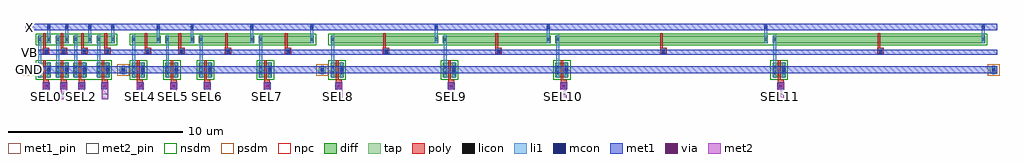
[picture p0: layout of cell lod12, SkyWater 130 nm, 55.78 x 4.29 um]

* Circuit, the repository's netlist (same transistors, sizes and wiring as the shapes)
* NGSPICE file created from lod12.ext - technology: sky130A

.subckt lod12 SEL0 SEL1 SEL2 SEL3 SEL4 SEL5 SEL6 SEL7 SEL8 SEL9 SEL10 SEL11 X VB GND
X0 X VB a_342_n392# GND sky130_fd_pr__nfet_01v8 ad=0.126 pd=1.44 as=0.126 ps=1.44 w=0.42 l=0.15
X1 X VB a_8538_n392# GND sky130_fd_pr__nfet_01v8 ad=2.52 pd=12.84 as=2.52 ps=12.84 w=0.42 l=0.15
X2 X VB a_546_n392# GND sky130_fd_pr__nfet_01v8 ad=0.189 pd=1.74 as=0.189 ps=1.74 w=0.42 l=0.15
X3 X VB a_1212_n392# GND sky130_fd_pr__nfet_01v8 ad=0.315 pd=2.34 as=0.315 ps=2.34 w=0.42 l=0.15
X4 X VB a_1980_n392# GND sky130_fd_pr__nfet_01v8 ad=0.63 pd=3.84 as=0.63 ps=3.84 w=0.42 l=0.15
X5 GND SEL3 a_810_n392# GND sky130_fd_pr__nfet_01v8 ad=0.252 pd=2.28 as=0.252 ps=2.28 w=0.84 l=0.15
X6 GND SEL11 a_8538_n392# GND sky130_fd_pr__nfet_01v8 ad=0.252 pd=2.28 as=0.252 ps=2.28 w=0.84 l=0.15
X7 X VB a_2664_n392# GND sky130_fd_pr__nfet_01v8 ad=0.63 pd=3.84 as=0.63 ps=3.84 w=0.42 l=0.15
X8 X VB a_138_n392# GND sky130_fd_pr__nfet_01v8 ad=0.126 pd=1.44 as=0.126 ps=1.44 w=0.42 l=0.15
X9 GND SEL0 a_138_n392# GND sky130_fd_pr__nfet_01v8 ad=0.252 pd=2.28 as=0.252 ps=2.28 w=0.84 l=0.15
X10 GND SEL2 a_546_n392# GND sky130_fd_pr__nfet_01v8 ad=0.252 pd=2.28 as=0.252 ps=2.28 w=0.84 l=0.15
X11 GND SEL5 a_1596_n392# GND sky130_fd_pr__nfet_01v8 ad=0.252 pd=2.28 as=0.252 ps=2.28 w=0.84 l=0.15
X12 GND SEL7 a_2664_n392# GND sky130_fd_pr__nfet_01v8 ad=0.252 pd=2.28 as=0.252 ps=2.28 w=0.84 l=0.15
X13 X VB a_3486_n392# GND sky130_fd_pr__nfet_01v8 ad=1.26 pd=6.84 as=1.26 ps=6.84 w=0.42 l=0.15
X14 X VB a_810_n392# GND sky130_fd_pr__nfet_01v8 ad=0.189 pd=1.74 as=0.189 ps=1.74 w=0.42 l=0.15
X15 GND SEL6 a_1980_n392# GND sky130_fd_pr__nfet_01v8 ad=0.252 pd=2.28 as=0.252 ps=2.28 w=0.84 l=0.15
X16 X VB a_1596_n392# GND sky130_fd_pr__nfet_01v8 ad=0.315 pd=2.34 as=0.315 ps=2.34 w=0.42 l=0.15
X17 X VB a_4770_n392# GND sky130_fd_pr__nfet_01v8 ad=1.26 pd=6.84 as=1.26 ps=6.84 w=0.42 l=0.15
X18 GND SEL8 a_3486_n392# GND sky130_fd_pr__nfet_01v8 ad=0.252 pd=2.28 as=0.252 ps=2.28 w=0.84 l=0.15
X19 GND SEL9 a_4770_n392# GND sky130_fd_pr__nfet_01v8 ad=0.252 pd=2.28 as=0.252 ps=2.28 w=0.84 l=0.15
X20 GND SEL4 a_1212_n392# GND sky130_fd_pr__nfet_01v8 ad=0.252 pd=2.28 as=0.252 ps=2.28 w=0.84 l=0.15
X21 X VB a_6054_n392# GND sky130_fd_pr__nfet_01v8 ad=2.52 pd=12.84 as=2.52 ps=12.84 w=0.42 l=0.15
X22 GND SEL1 a_342_n392# GND sky130_fd_pr__nfet_01v8 ad=0.252 pd=2.28 as=0.252 ps=2.28 w=0.84 l=0.15
X23 GND SEL10 a_6054_n392# GND sky130_fd_pr__nfet_01v8 ad=0.252 pd=2.28 as=0.252 ps=2.28 w=0.84 l=0.15
.ends

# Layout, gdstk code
import gdstk
lib = gdstk.Library(unit=1e-6, precision=1e-09)
def R(c, l, rs):  # rectangles x0, y0, x1, y1
    for r in rs: c.add(gdstk.rectangle(r[:2], r[2:], *l))
def A(c, l, x, y, w, h, nx, ny, dx, dy):  # array of equal rectangles
    R(c, l, [(x+i*dx, y+j*dy, x+i*dx+w, y+j*dy+h) for i in range(nx) for j in range(ny)])
diff = (65, 20)
tap = (65, 44)
poly = (66, 20)
licon = (66, 44)
li1 = (67, 20)
mcon = (67, 44)
met1_pin = (68, 16)
met1 = (68, 20)
via = (68, 44)
met2_pin = (69, 16)
met2 = (69, 20)
nsdm = (93, 44)
psdm = (94, 20)
npc = (95, 20)

lod12 = lib.new_cell('lod12')
A(lod12, diff, 0.69, -1.96, 0.75, 0.84, 3, 1, 1.02, 0)
A(lod12, diff, 6.06, -1.96, 0.75, 0.84, 3, 1, 1.92, 0)
A(lod12, diff, 17.43, -1.96, 0.75, 0.84, 3, 1, 6.42, 0)
R(lod12, diff, [(4.05,-1.96,4.8,-1.12), (13.32,-1.96,14.07,-1.12), (42.69,-1.96,43.44,-1.12), (0.69,0,1.44,0.42), (1.71,0,2.46,0.42), (2.73,0,3.78,0.42), (4.05,0,5.1,0.42), (6.06,0,7.71,0.42), (7.98,0,9.63,0.42), (9.9,0,13.05,0.42), (13.32,0,16.47,0.42), (17.43,0,23.58,0.42), (23.85,0,30,0.42), (30.27,0,42.42,0.42), (42.69,0,54.84,0.42)])
R(lod12, tap, [(0,-1.75,0.42,-1.33), (5.37,-1.75,5.79,-1.33), (16.74,-1.75,17.16,-1.33), (55.11,-1.75,55.53,-1.33)])
A(lod12, poly, 0.99, -2.62, 0.34, 0.53, 3, 1, 1.02, 0)
A(lod12, poly, 6.36, -2.62, 0.34, 0.53, 3, 1, 1.92, 0)
A(lod12, poly, 17.73, -2.62, 0.34, 0.53, 3, 1, 6.42, 0)
A(lod12, poly, 0.99, -2.09, 0.15, 1.1, 3, 1, 1.02, 0)
A(lod12, poly, 6.36, -2.09, 0.15, 1.1, 3, 1, 1.92, 0)
A(lod12, poly, 17.73, -2.09, 0.15, 1.1, 3, 1, 6.42, 0)
R(lod12, poly, [(4.35,-2.62,4.69,-2.09), (13.62,-2.62,13.96,-2.09), (42.99,-2.62,43.33,-2.09), (4.35,-2.09,4.5,-0.99), (13.62,-2.09,13.77,-0.99), (42.99,-2.09,43.14,-0.99), (0.99,-0.62,1.33,-0.29), (2.01,-0.62,2.35,-0.29), (3.18,-0.62,3.52,-0.29), (4.5,-0.62,4.84,-0.29), (6.81,-0.62,7.15,-0.29), (8.73,-0.62,9.07,-0.29), (11.4,-0.62,11.74,-0.29), (14.82,-0.62,15.16,-0.29), (20.43,-0.62,20.77,-0.29), (26.85,-0.62,27.19,-0.29), (36.27,-0.62,36.61,-0.29), (48.69,-0.62,49.03,-0.29), (0.99,-0.29,1.14,0.55), (2.01,-0.29,2.16,0.55), (3.18,-0.29,3.33,0.55), (4.5,-0.29,4.65,0.55), (6.81,-0.29,6.96,0.55), (8.73,-0.29,8.88,0.55), (11.4,-0.29,11.55,0.55), (14.82,-0.29,14.97,0.55), (20.43,-0.29,20.58,0.55), (26.85,-0.29,27,0.55), (36.27,-0.29,36.42,0.55), (48.69,-0.29,48.84,0.55)])
A(lod12, licon, 1.08, -2.54, 0.17, 0.17, 3, 1, 1.02, 0)
A(lod12, licon, 6.45, -2.54, 0.17, 0.17, 3, 1, 1.92, 0)
A(lod12, licon, 17.82, -2.54, 0.17, 0.17, 3, 1, 6.42, 0)
R(lod12, licon, [(4.44,-2.54,4.61,-2.37), (13.71,-2.54,13.88,-2.37), (43.08,-2.54,43.25,-2.37), (0.73,-1.795,0.9,-1.625), (1.23,-1.795,1.4,-1.625), (1.75,-1.795,1.92,-1.625), (2.25,-1.795,2.42,-1.625), (2.77,-1.795,2.94,-1.625), (3.27,-1.795,3.44,-1.625), (4.09,-1.795,4.26,-1.625), (4.59,-1.795,4.76,-1.625), (6.1,-1.795,6.27,-1.625), (6.6,-1.795,6.77,-1.625), (8.02,-1.795,8.19,-1.625), (8.52,-1.795,8.69,-1.625), (9.94,-1.795,10.11,-1.625), (10.44,-1.795,10.61,-1.625), (13.36,-1.795,13.53,-1.625), (13.86,-1.795,14.03,-1.625), (17.47,-1.795,17.64,-1.625), (17.97,-1.795,18.14,-1.625), (23.89,-1.795,24.06,-1.625), (24.39,-1.795,24.56,-1.625), (30.31,-1.795,30.48,-1.625), (30.81,-1.795,30.98,-1.625), (42.73,-1.795,42.9,-1.625), (43.23,-1.795,43.4,-1.625), (0.125,-1.625,0.295,-1.455), (5.495,-1.625,5.665,-1.455), (16.865,-1.625,17.035,-1.455), (55.235,-1.625,55.405,-1.455), (0.73,-1.455,0.9,-1.285), (1.23,-1.455,1.4,-1.285), (1.75,-1.455,1.92,-1.285), (2.25,-1.455,2.42,-1.285), (2.77,-1.455,2.94,-1.285), (3.27,-1.455,3.44,-1.285), (4.09,-1.455,4.26,-1.285), (4.59,-1.455,4.76,-1.285), (6.1,-1.455,6.27,-1.285), (6.6,-1.455,6.77,-1.285), (8.02,-1.455,8.19,-1.285), (8.52,-1.455,8.69,-1.285), (9.94,-1.455,10.11,-1.285), (10.44,-1.455,10.61,-1.285), (13.36,-1.455,13.53,-1.285), (13.86,-1.455,14.03,-1.285), (17.47,-1.455,17.64,-1.285), (17.97,-1.455,18.14,-1.285), (23.89,-1.455,24.06,-1.285), (24.39,-1.455,24.56,-1.285), (30.31,-1.455,30.48,-1.285), (30.81,-1.455,30.98,-1.285), (42.73,-1.455,42.9,-1.285), (43.23,-1.455,43.4,-1.285), (1.08,-0.54,1.25,-0.37), (2.1,-0.54,2.27,-0.37), (3.27,-0.54,3.44,-0.37), (4.59,-0.54,4.76,-0.37), (6.9,-0.54,7.07,-0.37), (8.82,-0.54,8.99,-0.37), (11.49,-0.54,11.66,-0.37), (14.91,-0.54,15.08,-0.37), (20.52,-0.54,20.69,-0.37), (26.94,-0.54,27.11,-0.37), (36.36,-0.54,36.53,-0.37), (48.78,-0.54,48.95,-0.37), (0.73,0.125,0.9,0.295), (1.23,0.125,1.4,0.295), (1.75,0.125,1.92,0.295), (2.25,0.125,2.42,0.295), (2.77,0.125,2.94,0.295), (3.57,0.125,3.74,0.295), (4.09,0.125,4.26,0.295), (4.89,0.125,5.06,0.295), (6.1,0.125,6.27,0.295), (7.5,0.125,7.67,0.295), (8.02,0.125,8.19,0.295), (9.42,0.125,9.59,0.295), (9.94,0.125,10.11,0.295), (12.84,0.125,13.01,0.295), (13.36,0.125,13.53,0.295), (16.26,0.125,16.43,0.295), (17.47,0.125,17.64,0.295), (23.37,0.125,23.54,0.295), (23.89,0.125,24.06,0.295), (29.79,0.125,29.96,0.295), (30.31,0.125,30.48,0.295), (42.21,0.125,42.38,0.295), (42.73,0.125,42.9,0.295), (54.63,0.125,54.8,0.295)])
A(lod12, li1, 1.08, -2.62, 0.17, 0.33, 3, 1, 1.02, 0)
A(lod12, li1, 6.45, -2.62, 0.17, 0.33, 3, 1, 1.92, 0)
A(lod12, li1, 17.82, -2.62, 0.17, 0.33, 3, 1, 6.42, 0)
A(lod12, li1, 0.73, -1.98, 0.17, 2.42, 3, 1, 1.02, 0)
A(lod12, li1, 1.23, -1.98, 0.17, 0.88, 3, 1, 1.02, 0)
A(lod12, li1, 6.1, -1.98, 0.17, 2.42, 3, 1, 1.92, 0)
A(lod12, li1, 6.6, -1.98, 0.17, 0.88, 3, 1, 1.92, 0)
A(lod12, li1, 17.47, -1.98, 0.17, 2.42, 3, 1, 6.42, 0)
A(lod12, li1, 17.97, -1.98, 0.17, 0.88, 3, 1, 6.42, 0)
A(lod12, li1, 2.25, -0.02, 0.17, 1.07, 3, 1, 1.32, 0)
A(lod12, li1, 9.42, -0.02, 0.17, 1.07, 3, 1, 3.42, 0)
A(lod12, li1, 29.79, -0.02, 0.17, 1.07, 3, 1, 12.42, 0)
R(lod12, li1, [(4.44,-2.62,4.61,-2.29), (13.71,-2.62,13.88,-2.29), (43.08,-2.62,43.25,-2.29), (4.09,-1.98,4.26,0.44), (4.59,-1.98,4.76,-1.1), (13.36,-1.98,13.53,0.44), (13.86,-1.98,14.03,-1.1), (42.73,-1.98,42.9,0.44), (43.23,-1.98,43.4,-1.1), (0.125,-1.77,0.295,-1.31), (5.495,-1.77,5.665,-1.31), (16.865,-1.77,17.035,-1.31), (55.235,-1.77,55.405,-1.31), (1.08,-0.62,1.25,-0.29), (2.1,-0.62,2.27,-0.29), (3.27,-0.62,3.44,-0.29), (4.59,-0.62,4.76,-0.29), (6.9,-0.62,7.07,-0.29), (8.82,-0.62,8.99,-0.29), (11.49,-0.62,11.66,-0.29), (14.91,-0.62,15.08,-0.29), (20.52,-0.62,20.69,-0.29), (26.94,-0.62,27.11,-0.29), (36.36,-0.62,36.53,-0.29), (48.78,-0.62,48.95,-0.29), (1.23,-0.02,1.4,1.05), (7.5,-0.02,7.67,1.05), (23.37,-0.02,23.54,1.05)])
A(lod12, mcon, 1.08, -2.54, 0.17, 0.17, 3, 1, 1.02, 0)
A(lod12, mcon, 6.45, -2.54, 0.17, 0.17, 3, 1, 1.92, 0)
A(lod12, mcon, 17.82, -2.54, 0.17, 0.17, 3, 1, 6.42, 0)
A(lod12, mcon, 1.23, -1.625, 0.17, 0.17, 3, 1, 1.02, 0)
A(lod12, mcon, 6.6, -1.625, 0.17, 0.17, 3, 1, 1.92, 0)
A(lod12, mcon, 17.97, -1.625, 0.17, 0.17, 3, 1, 6.42, 0)
A(lod12, mcon, 2.25, 0.82, 0.17, 0.17, 3, 1, 1.32, 0)
A(lod12, mcon, 9.42, 0.82, 0.17, 0.17, 3, 1, 3.42, 0)
A(lod12, mcon, 29.79, 0.82, 0.17, 0.17, 3, 1, 12.42, 0)
R(lod12, mcon, [(4.44,-2.54,4.61,-2.37), (13.71,-2.54,13.88,-2.37), (43.08,-2.54,43.25,-2.37), (0.125,-1.625,0.295,-1.455), (4.59,-1.625,4.76,-1.455), (5.495,-1.625,5.665,-1.455), (13.86,-1.625,14.03,-1.455), (16.865,-1.625,17.035,-1.455), (43.23,-1.625,43.4,-1.455), (55.235,-1.625,55.405,-1.455), (1.08,-0.6,1.25,-0.43), (2.1,-0.6,2.27,-0.43), (3.27,-0.6,3.44,-0.43), (4.59,-0.6,4.76,-0.43), (6.9,-0.6,7.07,-0.43), (8.82,-0.6,8.99,-0.43), (11.49,-0.6,11.66,-0.43), (14.91,-0.6,15.08,-0.43), (20.52,-0.6,20.69,-0.43), (26.94,-0.6,27.11,-0.43), (36.36,-0.6,36.53,-0.43), (48.78,-0.6,48.95,-0.43), (1.23,0.82,1.4,0.99), (7.5,0.82,7.67,0.99), (23.37,0.82,23.54,0.99)])
R(lod12, met1_pin, [(0,-1.74,0.4,-1.34), (0,-0.66,0.4,-0.37), (0,0.72,0.4,1.09)])
A(lod12, met1, 0.965, -2.655, 0.4, 0.4, 3, 1, 1.02, 0)
A(lod12, met1, 6.335, -2.655, 0.4, 0.4, 3, 1, 1.92, 0)
A(lod12, met1, 17.705, -2.655, 0.4, 0.4, 3, 1, 6.42, 0)
R(lod12, met1, [(4.325,-2.655,4.725,-2.255), (13.595,-2.655,13.995,-2.255), (42.965,-2.655,43.365,-2.255), (0,-1.74,55.53,-1.34), (0,-0.66,55.53,-0.37), (0,0.72,55.53,1.09)])
A(lod12, via, 1.09, -2.53, 0.15, 0.15, 3, 1, 1.02, 0)
A(lod12, via, 6.46, -2.53, 0.15, 0.15, 3, 1, 1.92, 0)
A(lod12, via, 17.83, -2.53, 0.15, 0.15, 3, 1, 6.42, 0)
R(lod12, via, [(4.45,-2.53,4.6,-2.38), (13.72,-2.53,13.87,-2.38), (43.09,-2.53,43.24,-2.38)])
A(lod12, met2_pin, 0.985, -3.2, 0.36, 0.3, 3, 1, 1.02, 0)
A(lod12, met2_pin, 6.355, -3.2, 0.36, 0.3, 3, 1, 1.92, 0)
A(lod12, met2_pin, 17.725, -3.2, 0.36, 0.3, 3, 1, 6.42, 0)
R(lod12, met2_pin, [(4.345,-3.2,4.705,-2.9), (13.615,-3.2,13.975,-2.9), (42.985,-3.2,43.345,-2.9)])
A(lod12, met2, 0.985, -3.2, 0.36, 0.925, 3, 1, 1.02, 0)
A(lod12, met2, 6.355, -3.2, 0.36, 0.925, 3, 1, 1.92, 0)
A(lod12, met2, 17.725, -3.2, 0.36, 0.925, 3, 1, 6.42, 0)
R(lod12, met2, [(4.345,-3.2,4.705,-2.275), (13.615,-3.2,13.975,-2.275), (42.985,-3.2,43.345,-2.275)])
A(lod12, nsdm, 5.935, -2.085, 1, 1.09, 3, 1, 1.92, 0)
A(lod12, nsdm, 17.305, -2.085, 1, 1.09, 3, 1, 6.42, 0)
R(lod12, nsdm, [(0.565,-2.085,4.925,-0.995), (13.195,-2.085,14.195,-0.995), (42.565,-2.085,43.565,-0.995), (0.565,-0.125,5.225,0.545), (5.935,-0.125,16.595,0.545), (17.305,-0.125,54.965,0.545)])
R(lod12, psdm, [(-0.125,-1.875,0.545,-1.205), (5.245,-1.875,5.915,-1.205), (16.615,-1.875,17.285,-1.205), (54.985,-1.875,55.655,-1.205)])
A(lod12, npc, 0.98, -2.64, 0.37, 0.37, 3, 1, 1.02, 0)
A(lod12, npc, 6.35, -2.64, 0.37, 0.37, 3, 1, 1.92, 0)
A(lod12, npc, 17.72, -2.64, 0.37, 0.37, 3, 1, 6.42, 0)
R(lod12, npc, [(4.34,-2.64,4.71,-2.27), (13.61,-2.64,13.98,-2.27), (42.98,-2.64,43.35,-2.27), (0.98,-0.64,1.35,-0.27), (2,-0.64,2.37,-0.27), (3.17,-0.64,3.54,-0.27), (4.49,-0.64,4.86,-0.27), (6.8,-0.64,7.17,-0.27), (8.72,-0.64,9.09,-0.27), (11.39,-0.64,11.76,-0.27), (14.81,-0.64,15.18,-0.27), (20.42,-0.64,20.79,-0.27), (26.84,-0.64,27.21,-0.27), (36.26,-0.64,36.63,-0.27), (48.68,-0.64,49.05,-0.27)])
lod12.add(gdstk.Label('SEL0', (1.165,-3.05), layer=69, texttype=5))
lod12.add(gdstk.Label('SEL1', (2.185,-3.05), layer=69, texttype=5))
lod12.add(gdstk.Label('SEL2', (3.205,-3.05), layer=69, texttype=5))
lod12.add(gdstk.Label('SEL3', (4.525,-3.05), layer=69, texttype=5))
lod12.add(gdstk.Label('SEL4', (6.535,-3.05), layer=69, texttype=5))
lod12.add(gdstk.Label('SEL5', (8.455,-3.05), layer=69, texttype=5))
lod12.add(gdstk.Label('SEL6', (10.375,-3.05), layer=69, texttype=5))
lod12.add(gdstk.Label('SEL7', (13.795,-3.05), layer=69, texttype=5))
lod12.add(gdstk.Label('SEL8', (17.905,-3.05), layer=69, texttype=5))
lod12.add(gdstk.Label('SEL9', (24.325,-3.05), layer=69, texttype=5))
lod12.add(gdstk.Label('SEL10', (30.745,-3.05), layer=69, texttype=5))
lod12.add(gdstk.Label('SEL11', (43.165,-3.05), layer=69, texttype=5))
lod12.add(gdstk.Label('X', (0.2,0.905), layer=68, texttype=5))
lod12.add(gdstk.Label('VB', (0.2,-0.515), layer=68, texttype=5))
lod12.add(gdstk.Label('GND', (0.2,-1.54), layer=68, texttype=5))

lib.write_gds('lod12.gds')
